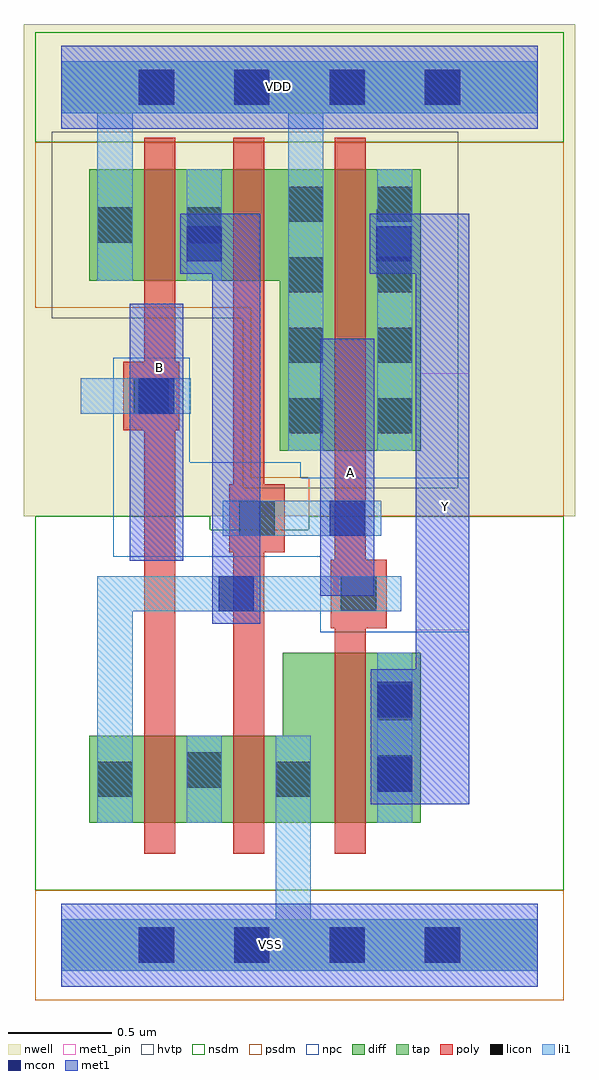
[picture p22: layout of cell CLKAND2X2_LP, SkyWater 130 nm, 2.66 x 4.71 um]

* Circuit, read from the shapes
.subckt CLKAND2X2_LP A B VDD VSS Y
XM1 n1 B n2 VSS sky130_fd_pr__nfet_01v8 w=0.42 l=0.15
XM2 VSS A n1 VSS sky130_fd_pr__nfet_01v8 w=0.42 l=0.15
XM3 Y n2 VSS VSS sky130_fd_pr__nfet_01v8 w=0.82 l=0.15
XM4 n2 B VDD VDD sky130_fd_pr__pfet_01v8_hvt w=0.54 l=0.15
XM5 VDD A n2 VDD sky130_fd_pr__pfet_01v8_hvt w=0.54 l=0.15
XM6 Y n2 VDD VDD sky130_fd_pr__pfet_01v8_hvt w=1.36 l=0.15
.ends

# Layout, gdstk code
from math import pi, radians
import gdstk
lib = gdstk.Library(unit=1e-6, precision=1e-09)
def R(c, l, rs):  # rectangles x0, y0, x1, y1
    for r in rs: c.add(gdstk.rectangle(r[:2], r[2:], *l))
def A(c, l, x, y, w, h, nx, ny, dx, dy):  # array of equal rectangles
    R(c, l, [(x+i*dx, y+j*dy, x+i*dx+w, y+j*dy+h) for i in range(nx) for j in range(ny)])
def P(c, l, *ps):  # polygons
    for p in ps: c.add(gdstk.Polygon(p, *l))
nwell = (64, 20)
diff = (65, 20)
tap = (65, 44)
poly = (66, 20)
licon = (66, 44)
li1 = (67, 20)
mcon = (67, 44)
met1_pin = (68, 16)
met1 = (68, 20)
hvtp = (78, 44)
nsdm = (93, 44)
psdm = (94, 20)
npc = (95, 20)

pyl1con_c_cdns_750721840 = lib.new_cell('PYL1CON_C_CDNS_750721840972')
R(pyl1con_c_cdns_750721840, poly, [(-0.135,-0.165,0.135,0.165)])
R(pyl1con_c_cdns_750721840, licon, [(-0.085,-0.085,0.085,0.085)])
R(pyl1con_c_cdns_750721840, npc, [(-0.185,-0.185,0.185,0.185)])

licondiff_c_cdns_7507218 = lib.new_cell('LICONDIFF_C_CDNS_750721840974')
R(licondiff_c_cdns_7507218, diff, [(-0.125,-0.145,0.125,0.145)])
R(licondiff_c_cdns_7507218, licon, [(-0.085,-0.085,0.085,0.085), (-0.085,-0.085,0.085,0.085)])

l1m1_c_cdns_750721840975 = lib.new_cell('L1M1_C_CDNS_750721840975')
R(l1m1_c_cdns_750721840975, li1, [(-0.085,-0.345,0.085,0.345)])
R(l1m1_c_cdns_750721840975, mcon, [(-0.085,-0.265,0.085,-0.095), (-0.085,0.095,0.085,0.265)])
R(l1m1_c_cdns_750721840975, met1, [(-0.115,-0.325,0.115,0.325)])

l1m1_c_cdns_750721840973 = lib.new_cell('L1M1_C_CDNS_750721840973')
R(l1m1_c_cdns_750721840973, li1, [(-0.165,-0.085,0.165,0.085)])
R(l1m1_c_cdns_750721840973, mcon, [(-0.085,-0.085,0.085,0.085)])
R(l1m1_c_cdns_750721840973, met1, [(-0.115,-0.145,0.115,0.145)])

l1m1_c_cdns_750721840971 = lib.new_cell('L1M1_C_CDNS_750721840971')
R(l1m1_c_cdns_750721840971, li1, [(-0.085,-0.165,0.085,0.165)])
R(l1m1_c_cdns_750721840971, mcon, [(-0.085,-0.085,0.085,0.085)])
R(l1m1_c_cdns_750721840971, met1, [(-0.115,-0.145,0.115,0.145)])

clkand2x2_lp = lib.new_cell('CLKAND2X2_LP')
R(clkand2x2_lp, nwell, [(-0.18,2.07,2.48,4.305), (0.875,2.205,1.915,3.925), (-0.045,3.025,0.785,3.925), (0.425,3.025,1.235,3.925), (-0.18,3.875,2.48,4.445)])
R(clkand2x2_lp, diff, [(0.135,0.59,0.4,1.01), (0.4,0.59,0.55,1.01), (0.55,0.59,0.605,1.01), (0.605,0.59,0.83,1.01), (0.83,0.59,0.98,1.01), (0.98,0.59,1.245,1.01), (1.245,0.59,1.32,1.41), (1.32,0.59,1.47,1.41), (1.47,0.59,1.735,1.41), (1.07,1.01,1.245,1.41), (1.055,2.385,1.32,3.745), (1.32,2.385,1.47,3.745), (1.47,2.385,1.735,3.745), (0.135,3.205,0.4,3.745), (0.4,3.205,0.55,3.745), (0.55,3.205,0.605,3.745), (0.605,3.205,0.83,3.745), (0.83,3.205,0.98,3.745), (0.98,3.205,1.055,3.745)])
R(clkand2x2_lp, poly, [(0.4,0.44,0.55,0.495), (0.83,0.44,0.98,0.495), (1.32,0.44,1.47,0.495), (0.4,0.495,0.55,0.59), (0.83,0.495,0.98,0.59), (1.32,0.495,1.47,0.59), (0.4,0.59,0.55,1.01), (0.83,0.59,0.98,1.01), (1.32,0.59,1.47,1.41), (0.4,1.01,0.55,1.105), (0.83,1.01,0.98,1.105), (0.4,1.105,0.55,1.16), (0.83,1.105,0.98,1.16), (1.32,1.41,1.47,1.505), (1.32,1.505,1.47,1.56), (1.32,2.235,1.47,2.29), (1.32,2.29,1.47,2.385), (1.32,2.385,1.47,3.745), (0.4,3.055,0.55,3.11), (0.83,3.055,0.98,3.11), (0.4,3.11,0.55,3.205), (0.83,3.11,0.98,3.205), (0.4,3.205,0.55,3.745), (0.83,3.205,0.98,3.745), (0.4,3.745,0.55,3.84), (0.83,3.745,0.98,3.84), (1.32,3.745,1.47,3.84), (0.4,3.84,0.55,3.895), (0.83,3.84,0.98,3.895), (1.32,3.84,1.47,3.895)])
A(clkand2x2_lp, licon, 1.095, 2.47, 0.17, 0.17, 1, 4, 0, 0.34)
A(clkand2x2_lp, licon, 1.525, 2.47, 0.17, 0.17, 1, 4, 0, 0.34)
R(clkand2x2_lp, licon, [(0.375,-0.085,0.545,0.085), (0.375,-0.085,0.545,0.085), (0.835,-0.085,1.005,0.085), (0.835,-0.085,1.005,0.085), (1.295,-0.085,1.465,0.085), (1.295,-0.085,1.465,0.085), (1.755,-0.085,1.925,0.085), (1.755,-0.085,1.925,0.085), (0.175,0.715,0.345,0.885), (1.035,0.715,1.205,0.885), (1.525,0.745,1.695,0.915), (1.525,1.085,1.695,1.255), (0.175,3.39,0.345,3.56), (0.605,3.39,0.775,3.56), (0.375,4.055,0.545,4.225), (0.375,4.055,0.545,4.225), (0.835,4.055,1.005,4.225), (0.835,4.055,1.005,4.225), (1.295,4.055,1.465,4.225), (1.295,4.055,1.465,4.225), (1.755,4.055,1.925,4.225), (1.755,4.055,1.925,4.225)])
R(clkand2x2_lp, li1, [(0.175,0.59,0.345,1.01), (1.035,0.59,1.205,1.01), (1.525,0.59,1.695,1.41), (1.095,2.385,1.265,3.745), (1.525,2.385,1.695,3.745), (0.175,3.205,0.345,3.745), (0.605,3.205,0.775,3.745)])
R(clkand2x2_lp, mcon, [(0.375,-0.085,0.545,0.085), (0.375,-0.085,0.545,0.085), (0.835,-0.085,1.005,0.085), (0.835,-0.085,1.005,0.085), (1.295,-0.085,1.465,0.085), (1.295,-0.085,1.465,0.085), (1.755,-0.085,1.925,0.085), (1.755,-0.085,1.925,0.085), (0.375,4.055,0.545,4.225), (0.375,4.055,0.545,4.225), (0.835,4.055,1.005,4.225), (0.835,4.055,1.005,4.225), (1.295,4.055,1.465,4.225), (1.295,4.055,1.465,4.225), (1.755,4.055,1.925,4.225), (1.755,4.055,1.925,4.225)])
R(clkand2x2_lp, met1_pin, [(1.71,1.52,1.97,2.76), (1.25,1.685,1.51,2.925), (0.33,1.855,0.59,3.095)])
R(clkand2x2_lp, hvtp, [(0.875,2.205,1.915,3.925), (-0.045,3.025,0.785,3.925), (0.425,3.025,1.235,3.925)])
R(clkand2x2_lp, nsdm, [(-0.005,0.46,0.615,1.14), (0.595,0.46,1.385,1.14), (1.365,0.46,1.875,1.54), (-0.125,3.875,2.425,4.405), (-0.125,3.875,2.425,4.405), (-0.125,3.93,2.425,4.35), (-0.125,3.93,2.425,4.35)])
P(clkand2x2_lp, nsdm, [(2.425,2.07),(1.195,2.07),(1.195,2.005),(0.72,2.005),(0.72,2.07),(-0.125,2.07),(-0.125,0.265),(2.425,0.265)])
R(clkand2x2_lp, psdm, [(-0.125,-0.265,2.425,0.265), (-0.125,-0.21,2.425,0.21), (0.915,2.255,1.875,3.875), (-0.005,3.075,0.615,3.875), (0.595,3.075,0.935,3.875)])
P(clkand2x2_lp, psdm, [(2.425,3.875),(-0.125,3.875),(-0.125,3.075),(0.915,3.075),(0.915,2.255),(1.195,2.255),(1.195,2.07),(2.425,2.07)])
P(clkand2x2_lp, npc, [(1.97,2.255),(1.155,2.255),(1.155,2.33),(0.62,2.33),(0.62,2.835),(0.25,2.835),(0.25,1.875),(1.25,1.875),(1.25,1.51),(1.97,1.51)])
clkand2x2_lp.add(gdstk.FlexPath([(0,0),(2.3,0)], 0.4, ends="flush", simple_path=True, layer=68, datatype=16))  # met1_pin
clkand2x2_lp.add(gdstk.FlexPath([(0,4.14),(2.3,4.14)], 0.4, ends="flush", simple_path=True, layer=68, datatype=16))  # met1_pin
clkand2x2_lp.add(gdstk.FlexPath([(0,4.14),(2.3,4.14)], 0.4, ends="flush", simple_path=True, layer=68, datatype=16))  # met1_pin
clkand2x2_lp.add(gdstk.FlexPath([(0,0),(2.3,0)], 0.4, ends="flush", simple_path=True, layer=68, datatype=16))  # met1_pin
clkand2x2_lp.add(gdstk.FlexPath([(0,4.14),(2.3,4.14)], 0.4, ends="flush", simple_path=True, layer=68, datatype=20))  # met1
clkand2x2_lp.add(gdstk.FlexPath([(0.46,1.855),(0.46,3.095)], 0.26, ends="flush", simple_path=True, layer=68, datatype=20))  # met1
clkand2x2_lp.add(gdstk.FlexPath([(0.845,1.55),(0.845,3.53)], 0.23, ends="flush", simple_path=True, layer=68, datatype=20))  # met1
clkand2x2_lp.add(gdstk.FlexPath([(1.84,0.68),(1.84,3.53)], 0.26, ends="flush", simple_path=True, layer=68, datatype=20))  # met1
clkand2x2_lp.add(gdstk.FlexPath([(1.38,1.685),(1.38,2.925)], 0.26, ends="flush", simple_path=True, layer=68, datatype=20))  # met1
clkand2x2_lp.add(gdstk.FlexPath([(0,0),(2.3,0)], 0.4, ends="flush", simple_path=True, layer=68, datatype=20))  # met1
clkand2x2_lp.add(gdstk.FlexPath([(2.215,0),(0,0)], 0.25, ends=(0.085, 0), simple_path=True, layer=67, datatype=20))  # li1
clkand2x2_lp.add(gdstk.FlexPath([(2.215,0),(0,0)], 0.25, ends=(0.085, 0), simple_path=True, layer=67, datatype=20))  # li1
clkand2x2_lp.add(gdstk.FlexPath([(2.215,4.14),(0,4.14)], 0.25, ends=(0.085, 0), simple_path=True, layer=67, datatype=20))  # li1
clkand2x2_lp.add(gdstk.FlexPath([(2.215,4.14),(0,4.14)], 0.25, ends=(0.085, 0), simple_path=True, layer=67, datatype=20))  # li1
clkand2x2_lp.add(gdstk.FlexPath([(0.69,0.59),(0.69,1.01)], 0.17, ends="flush", simple_path=True, layer=67, datatype=20))  # li1
clkand2x2_lp.add(gdstk.FlexPath([(0.26,1.01),(0.26,1.78)], 0.17, ends="flush", simple_path=True, layer=67, datatype=20))  # li1
clkand2x2_lp.add(gdstk.FlexPath([(0.78,2.06),(1.315,2.06)], 0.17, ends="flush", simple_path=True, layer=67, datatype=20))  # li1
clkand2x2_lp.add(gdstk.FlexPath([(0.095,2.65),(0.6,2.65)], 0.17, ends="flush", simple_path=True, layer=67, datatype=20))  # li1
clkand2x2_lp.add(gdstk.FlexPath([(0.175,1.695),(1.64,1.695)], 0.17, ends="flush", simple_path=True, layer=67, datatype=20))  # li1
clkand2x2_lp.add(gdstk.FlexPath([(0.26,3.55),(0.26,4.265)], 0.17, ends="flush", simple_path=True, layer=67, datatype=20))  # li1
clkand2x2_lp.add(gdstk.FlexPath([(1.18,3.55),(1.18,4.265)], 0.17, ends="flush", simple_path=True, layer=67, datatype=20))  # li1
clkand2x2_lp.add(gdstk.FlexPath([(1.12,-0.125),(1.12,0.59)], 0.17, ends="flush", simple_path=True, layer=67, datatype=20))  # li1
clkand2x2_lp.add(gdstk.FlexPath([(0.475,2.925),(0.475,3.055)], 0.15, ends="flush", simple_path=True, layer=66, datatype=20))  # poly
clkand2x2_lp.add(gdstk.FlexPath([(0.905,2.925),(0.905,3.055)], 0.15, ends="flush", simple_path=True, layer=66, datatype=20))  # poly
clkand2x2_lp.add(gdstk.FlexPath([(0.475,1.44),(0.475,2.925)], 0.15, ends="flush", simple_path=True, layer=66, datatype=20))  # poly
clkand2x2_lp.add(gdstk.FlexPath([(0.905,1.44),(0.905,2.925)], 0.15, ends="flush", simple_path=True, layer=66, datatype=20))  # poly
clkand2x2_lp.add(gdstk.FlexPath([(0.905,1.16),(0.905,1.44)], 0.15, ends="flush", simple_path=True, layer=66, datatype=20))  # poly
clkand2x2_lp.add(gdstk.FlexPath([(1.395,2.42),(1.395,1.35)], 0.15, ends="flush", simple_path=True, layer=66, datatype=20))  # poly
clkand2x2_lp.add(gdstk.FlexPath([(0.475,1.16),(0.475,1.44)], 0.15, ends="flush", simple_path=True, layer=66, datatype=20))  # poly
clkand2x2_lp.add(gdstk.FlexPath([(0,0),(2.3,0)], 0.25, ends="flush", simple_path=True, layer=65, datatype=44))  # tap
clkand2x2_lp.add(gdstk.FlexPath([(0,4.14),(2.3,4.14)], 0.25, ends="flush", simple_path=True, layer=65, datatype=44))  # tap
clkand2x2_lp.add(gdstk.FlexPath([(0,0),(2.3,0)], 0.25, ends="flush", simple_path=True, layer=65, datatype=44))  # tap
clkand2x2_lp.add(gdstk.FlexPath([(0,4.14),(2.3,4.14)], 0.25, ends="flush", simple_path=True, layer=65, datatype=44))  # tap
clkand2x2_lp.add(gdstk.Reference(pyl1con_c_cdns_750721840, (0.945,2.06), rotation=pi, x_reflection=True))
clkand2x2_lp.add(gdstk.Reference(pyl1con_c_cdns_750721840, (0.435,2.65), rotation=pi, x_reflection=True))
clkand2x2_lp.add(gdstk.Reference(pyl1con_c_cdns_750721840, (1.435,1.695), rotation=pi, x_reflection=True))
clkand2x2_lp.add(gdstk.Reference(licondiff_c_cdns_7507218, (0.69,0.845)))
clkand2x2_lp.add(gdstk.Reference(l1m1_c_cdns_750721840975, (1.61,1.005)))
clkand2x2_lp.add(gdstk.Reference(l1m1_c_cdns_750721840973, (0.845,1.695)))
clkand2x2_lp.add(gdstk.Reference(l1m1_c_cdns_750721840973, (0.46,2.65), x_reflection=True))
clkand2x2_lp.add(gdstk.Reference(l1m1_c_cdns_750721840973, (1.38,2.06), x_reflection=True))
clkand2x2_lp.add(gdstk.Reference(l1m1_c_cdns_750721840971, (0.69,3.385)))
clkand2x2_lp.add(gdstk.Reference(l1m1_c_cdns_750721840971, (1.605,3.385)))
clkand2x2_lp.add(gdstk.Label('VDD', (1.05,4.145), layer=68, texttype=5))
clkand2x2_lp.add(gdstk.Label('VSS', (1.01,0.005), layer=68, texttype=5))
clkand2x2_lp.add(gdstk.Label('Y', (1.855,2.115), layer=68, texttype=5))
clkand2x2_lp.add(gdstk.Label('B', (0.475,2.785), layer=68, texttype=5))
clkand2x2_lp.add(gdstk.Label('A', (1.395,2.28), layer=68, texttype=5))

lib.write_gds('CLKAND2X2_LP.gds')
